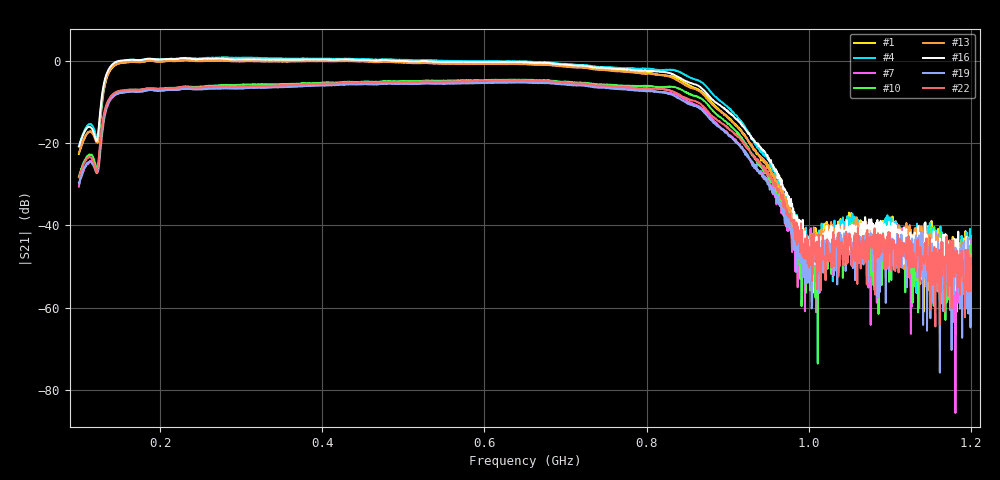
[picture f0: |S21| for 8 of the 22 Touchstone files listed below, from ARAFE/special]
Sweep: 100 MHz to 1.2 GHz
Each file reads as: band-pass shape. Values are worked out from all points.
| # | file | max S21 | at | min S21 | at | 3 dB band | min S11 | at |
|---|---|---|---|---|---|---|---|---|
| 1 | SIG2_ATT90_T30.s2p | 0.16 dB | 232 MHz | -61.0 dB | 1.182 GHz | 137.8 MHz-795.1 MHz | -38.0 dB | 262.2 MHz |
| 2 | SIG2_ATT90_T30_START.s2p | 0.13 dB | 232 MHz | -61.7 dB | 1.181 GHz | 137.8 MHz-796.4 MHz | -36.1 dB | 263.6 MHz |
| 3 | SIG2_ATT90_TN10.s2p | 0.71 dB | 276.7 MHz | -65.3 dB | 1.19 GHz | 137.8 MHz-808.1 MHz | -45.1 dB | 102.8 MHz |
| 4 | SIG2_ATT90_TN20.s2p | 0.86 dB | 278.8 MHz | -60.6 dB | 1.175 GHz | 137.8 MHz-809.5 MHz | -50.0 dB | 100.7 MHz |
| 5 | SIG2_ATT120_T0.s2p | -4.76 dB | 611.5 MHz | -65.1 dB | 1.178 GHz | 147.4 MHz-842.5 MHz | -37.6 dB | 377.8 MHz |
| 6 | SIG2_ATT120_T20.s2p | -5.02 dB | 654.1 MHz | -65.5 dB | 1.186 GHz | 146.8 MHz-837.7 MHz | -37.0 dB | 382.6 MHz |
| 7 | SIG2_ATT120_T30.s2p | -5.08 dB | 647.9 MHz | -85.5 dB | 1.181 GHz | 147.4 MHz-833.6 MHz | -34.6 dB | 421.8 MHz |
| 8 | SIG2_ATT120_T30_START.s2p | -5.14 dB | 658.2 MHz | -70.4 dB | 1.175 GHz | 146.8 MHz-833.6 MHz | -33.1 dB | 379.1 MHz |
| 9 | SIG2_ATT120_TN10.s2p | -4.67 dB | 651.4 MHz | -74.3 dB | 1.194 GHz | 147.4 MHz-844.6 MHz | -41.2 dB | 378.4 MHz |
| 10 | SIG2_ATT120_TN20.s2p | -4.56 dB | 650.7 MHz | -73.6 dB | 1.011 GHz | 146.8 MHz-847.3 MHz | -43.1 dB | 378.4 MHz |
| 11 | SIG3_ATT90_T0.s2p | 0.36 dB | 229.2 MHz | -60.6 dB | 1.192 GHz | 136.4 MHz-786.8 MHz | -34.8 dB | 187.3 MHz |
| 12 | SIG3_ATT90_T20.s2p | 0.25 dB | 229.2 MHz | -62.2 dB | 1.192 GHz | 136.4 MHz-783.4 MHz | -34.0 dB | 185.9 MHz |
| 13 | SIG3_ATT90_T30.s2p | 0.17 dB | 232 MHz | -59.8 dB | 1.188 GHz | 136.4 MHz-780.6 MHz | -32.7 dB | 192.1 MHz |
| 14 | SIG3_ATT90_T30_START.s2p | 0.18 dB | 230.6 MHz | -64.4 dB | 1.163 GHz | 136.4 MHz-779.2 MHz | -32.4 dB | 185.9 MHz |
| 15 | SIG3_ATT90_TN10.s2p | 0.53 dB | 232 MHz | -62.8 dB | 1.154 GHz | 136.4 MHz-785.4 MHz | -34.1 dB | 185.9 MHz |
| 16 | SIG3_ATT90_TN20.s2p | 0.66 dB | 229.2 MHz | -57.6 dB | 1.199 GHz | 136.4 MHz-785.4 MHz | -32.3 dB | 115.1 MHz |
| 17 | SIG3_ATT120_T0.s2p | -4.97 dB | 645.9 MHz | -68.5 dB | 1.182 GHz | 145.4 MHz-831.5 MHz | -30.1 dB | 192.1 MHz |
| 18 | SIG3_ATT120_T20.s2p | -5.10 dB | 630.8 MHz | -66.3 dB | 1.184 GHz | 145.4 MHz-830.8 MHz | -29.4 dB | 185.9 MHz |
| 19 | SIG3_ATT120_T30.s2p | -5.22 dB | 647.2 MHz | -75.7 dB | 1.161 GHz | 145.4 MHz-830.1 MHz | -28.9 dB | 185.9 MHz |
| 20 | SIG3_ATT120_T30_START.s2p | -5.21 dB | 645.9 MHz | -69.5 dB | 1.177 GHz | 145.4 MHz-829.4 MHz | -28.6 dB | 188.7 MHz |
| 21 | SIG3_ATT120_TN10.s2p | -4.81 dB | 634.2 MHz | -81.8 dB | 1.157 GHz | 145.4 MHz-833.6 MHz | -29.1 dB | 191.4 MHz |
| 22 | SIG3_ATT120_TN20.s2p | -4.73 dB | 634.2 MHz | -64.5 dB | 1.156 GHz | 144.7 MHz-834.2 MHz | -29.5 dB | 115.1 MHz |
